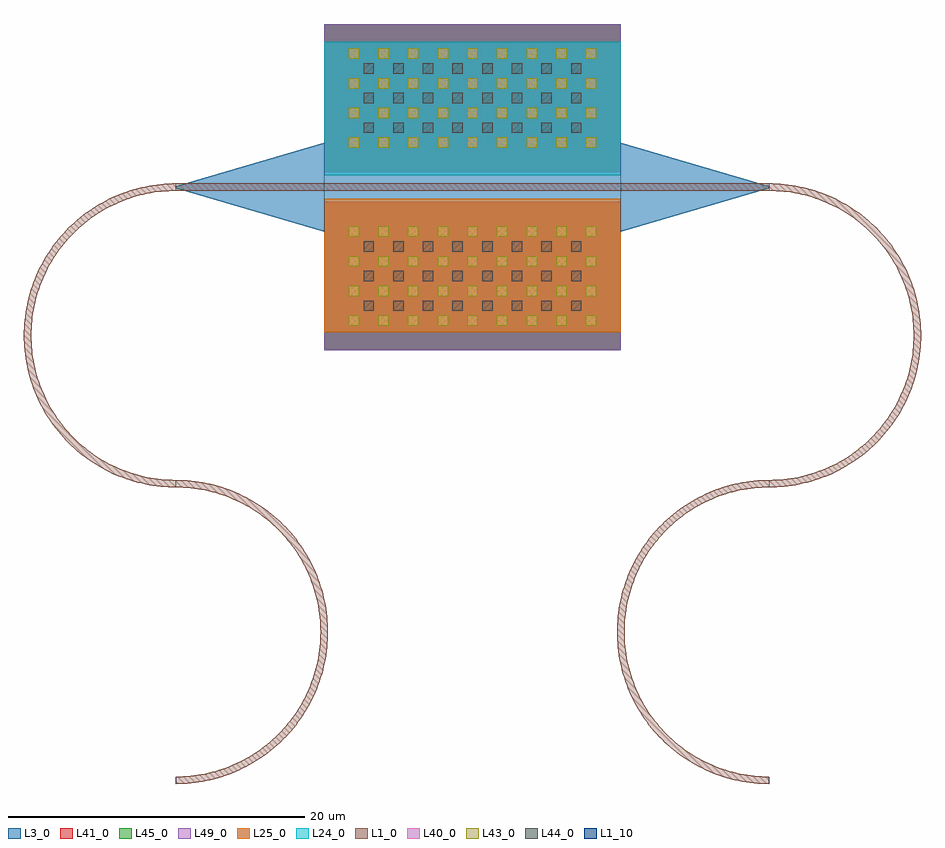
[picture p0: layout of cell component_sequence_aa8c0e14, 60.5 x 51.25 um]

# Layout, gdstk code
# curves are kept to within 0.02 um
from math import pi, radians
import gdstk
lib = gdstk.Library(unit=1e-6, precision=1e-09)
def R(c, l, rs):  # rectangles x0, y0, x1, y1
    for r in rs: c.add(gdstk.rectangle(r[:2], r[2:], *l))
def P(c, l, *ps):  # polygons
    for p in ps: c.add(gdstk.Polygon(p, *l))
L1_0 = (1, 0)
L1_10 = (1, 10)
L3_0 = (3, 0)
L24_0 = (24, 0)
L25_0 = (25, 0)
L40_0 = (40, 0)
L41_0 = (41, 0)
L43_0 = (43, 0)
L44_0 = (44, 0)
L45_0 = (45, 0)
L49_0 = (49, 0)

bend_circular_angle180 = lib.new_cell('bend_circular_angle180')
P(bend_circular_angle180, L1_0, [(0,-0.25),(1.037,-0.197),(2.063,-0.04),(2.82,0.145),(3.802,0.481),(4.746,0.915),(5.641,1.442),(6.477,2.056),(7.248,2.752),(7.944,3.523),(8.558,4.359),(9.085,5.254),(9.519,6.198),(9.855,7.18),(10.04,7.937),(10.197,8.963),(10.25,10),(10.197,11.037),(10.04,12.063),(9.855,12.82),(9.519,13.802),(9.085,14.746),(8.558,15.641),(7.944,16.477),(7.248,17.248),(6.477,17.944),(5.641,18.558),(4.746,19.085),(3.802,19.519),(2.82,19.855),(2.063,20.04),(1.037,20.197),(0,20.25),(0,19.75),(1.232,19.672),(2.204,19.498),(3.154,19.226),(4.294,18.754),(4.946,18.402),(5.771,17.859),(6.536,17.235),(7.067,16.717),(7.71,15.968),(8.141,15.365),(8.642,14.514),(9.054,13.617),(9.374,12.682),(9.597,11.72),(9.722,10.74),(9.75,10),(9.722,9.26),(9.597,8.28),(9.374,7.318),(9.054,6.383),(8.642,5.486),(8.141,4.635),(7.71,4.032),(7.067,3.283),(6.536,2.765),(5.771,2.141),(4.946,1.598),(4.294,1.246),(3.154,0.774),(2.204,0.502),(1.232,0.328),(0,0.25)])
R(bend_circular_angle180, L1_10, [(0,-0.25,0.001,0.25), (0,19.75,0.001,20.25)])

straight_6983215d = lib.new_cell('straight_6983215d')
R(straight_6983215d, L1_0, [(0,-0.25,20,0.25)])
R(straight_6983215d, L1_10, [(0,-0.25,0.001,0.25), (19.999,-0.25,20,0.25)])
R(straight_6983215d, L3_0, [(0,-10,20,10)])
R(straight_6983215d, L24_0, [(0,0.8,20,9.8)])
R(straight_6983215d, L25_0, [(0,-9.8,20,-0.8)])

taper_strip_to_ridge = lib.new_cell('taper_strip_to_ridge')
R(taper_strip_to_ridge, L1_0, [(0,-0.25,10,0.25)])
R(taper_strip_to_ridge, L1_10, [(9.999,-3,10,3), (9.999,-3,10,3), (0,-0.25,0.001,0.25), (0,-0.25,0.001,0.25), (9.999,-0.25,10,0.25), (0,-0.075,0.001,0.075)])
P(taper_strip_to_ridge, L3_0, [(0,0.075),(10,3),(10,-3),(0,-0.075)])

compass_b2148793 = lib.new_cell('compass_b2148793')
R(compass_b2148793, L3_0, [(-10,-5,10,5)])

compass_layerm1_size20p0 = lib.new_cell('compass_layerM1_size20p0__10p0')
R(compass_layerm1_size20p0, L41_0, [(-10,-5,10,5)])

compass_layerm2_size20p0 = lib.new_cell('compass_layerM2_size20p0__10p0')
R(compass_layerm2_size20p0, L45_0, [(-10,-5,10,5)])

compass_d92fe7fa = lib.new_cell('compass_d92fe7fa')
R(compass_d92fe7fa, L49_0, [(-10,-5,10,5)])

via = lib.new_cell('via')
R(via, L40_0, [(-0.35,-0.35,0.35,0.35)])

via_enclosure2_layervia1 = lib.new_cell('via_enclosure2_layerVIA1')
R(via_enclosure2_layervia1, L44_0, [(-0.35,-0.35,0.35,0.35)])

via_layervia2 = lib.new_cell('via_layerVIA2')
R(via_layervia2, L43_0, [(-0.35,-0.35,0.35,0.35)])

via_stack_8514ccfe = lib.new_cell('via_stack_8514ccfe')
via_stack_8514ccfe.add(gdstk.Reference(compass_b2148793, (0,0)))
via_stack_8514ccfe.add(gdstk.Reference(compass_layerm1_size20p0, (0,0)))
via_stack_8514ccfe.add(gdstk.Reference(compass_layerm2_size20p0, (0,0)))
via_stack_8514ccfe.add(gdstk.Reference(compass_d92fe7fa, (0,0)))
r = gdstk.Reference(via, (-8,-3)); r.repetition = gdstk.Repetition(9, 4, v1=(2,0), v2=(0,2)); via_stack_8514ccfe.add(r)
r = gdstk.Reference(via_enclosure2_layervia1, (-7,-2)); r.repetition = gdstk.Repetition(8, 3, v1=(2,0), v2=(0,2)); via_stack_8514ccfe.add(r)
r = gdstk.Reference(via_layervia2, (-8,-3)); r.repetition = gdstk.Repetition(9, 4, v1=(2,0), v2=(0,2)); via_stack_8514ccfe.add(r)

straight_pin_length40 = lib.new_cell('straight_pin_length40')
straight_pin_length40.add(gdstk.Reference(straight_6983215d, (0,0)))
straight_pin_length40.add(gdstk.Reference(taper_strip_to_ridge, (-10,0)))
straight_pin_length40.add(gdstk.Reference(taper_strip_to_ridge, (30,0), rotation=pi))
straight_pin_length40.add(gdstk.Reference(via_stack_8514ccfe, (10,6)))
straight_pin_length40.add(gdstk.Reference(via_stack_8514ccfe, (10,-6)))

component_sequence_aa8c0 = lib.new_cell('component_sequence_aa8c0e14')
component_sequence_aa8c0.add(gdstk.Reference(bend_circular_angle180, (0,0)))
component_sequence_aa8c0.add(gdstk.Reference(bend_circular_angle180, (0,40), rotation=pi))
component_sequence_aa8c0.add(gdstk.Reference(straight_pin_length40, (10,40)))
component_sequence_aa8c0.add(gdstk.Reference(bend_circular_angle180, (40,20)))
component_sequence_aa8c0.add(gdstk.Reference(bend_circular_angle180, (40,20), rotation=pi))

lib.write_gds('component_sequence_aa8c0e14.gds')
